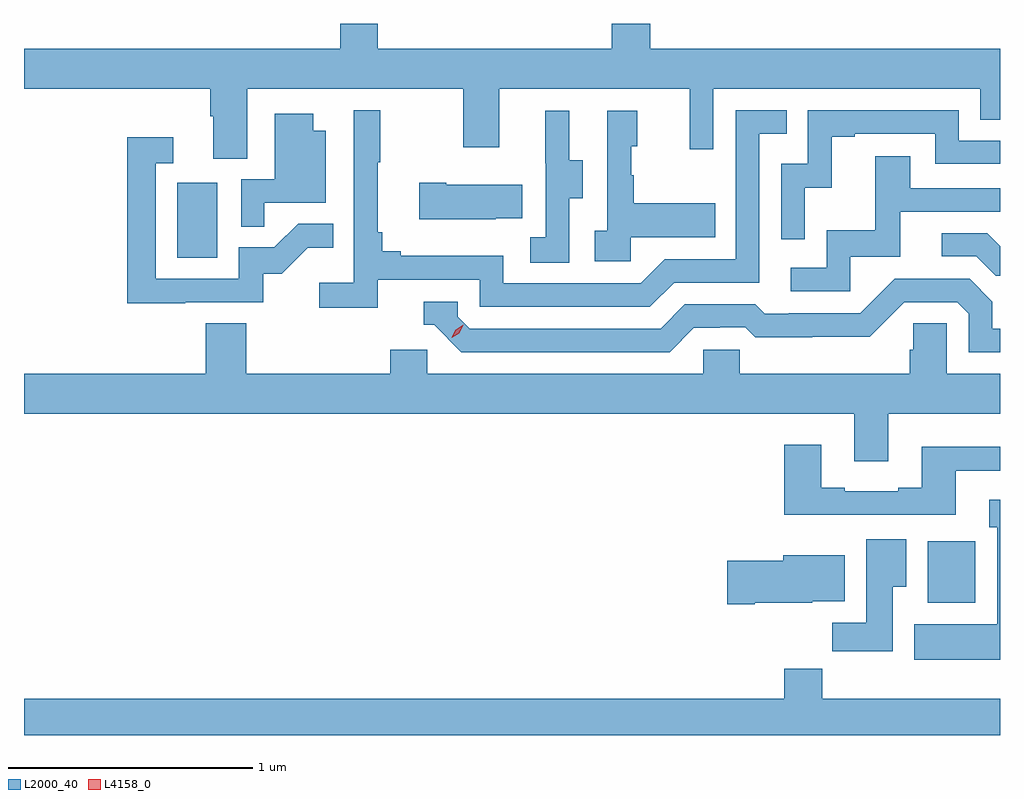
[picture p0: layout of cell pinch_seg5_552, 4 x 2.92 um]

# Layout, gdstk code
import gdstk
lib = gdstk.Library(unit=1e-6, precision=1e-09)
def R(c, l, rs):  # rectangles x0, y0, x1, y1
    for r in rs: c.add(gdstk.rectangle(r[:2], r[2:], *l))
def P(c, l, *ps):  # polygons
    for p in ps: c.add(gdstk.Polygon(p, *l))
L2000_40 = (2000, 40)
L4158_0 = (4158, 0)

pinch_seg5_552 = lib.new_cell('pinch_seg5_552')
R(pinch_seg5_552, L2000_40, [(1012.439,833.342,1012.635,833.593), (1009.364,834.756,1009.528,835.063)])
P(pinch_seg5_552, L2000_40, [(1009.651,835.448),(1010.536,835.448),(1010.536,835.209),(1010.683,835.209),(1010.683,835.448),(1011.464,835.448),(1011.464,835.2),(1011.561,835.2),(1011.561,835.448),(1012.656,835.448),(1012.656,835.321),(1012.736,835.321),(1012.736,835.612),(1011.302,835.612),(1011.302,835.714),(1011.145,835.714),(1011.145,835.612),(1010.185,835.612),(1010.185,835.714),(1010.033,835.714),(1010.033,835.612),(1008.736,835.612),(1008.736,835.448),(1009.499,835.448),(1009.499,835.336),(1009.511,835.336),(1009.511,835.162),(1009.651,835.162)],
  [(1010.186,834.666),(1010.604,834.666),(1010.604,834.555),(1011.301,834.555),(1011.4,834.654),(1011.75,834.654),(1011.75,835.263),(1011.863,835.263),(1011.863,835.359),(1011.654,835.359),(1011.654,834.75),(1011.363,834.75),(1011.264,834.651),(1010.7,834.651),(1010.7,834.763),(1010.281,834.763),(1010.281,834.782),(1010.204,834.782),(1010.204,834.859),(1010.185,834.859),(1010.185,835.147),(1010.197,835.147),(1010.197,835.36),(1010.088,835.36),(1010.088,834.652),(1009.947,834.652),(1009.947,834.55),(1010.186,834.55)],
  [(1011.936,835.043),(1012.046,835.043),(1012.046,835.251),(1012.141,835.251),(1012.141,835.263),(1012.47,835.263),(1012.47,835.14),(1012.736,835.14),(1012.736,835.236),(1012.566,835.236),(1012.566,835.359),(1011.948,835.359),(1011.948,835.14),(1011.84,835.14),(1011.84,834.831),(1011.936,834.831)],
  [(1010.97,835),(1011.025,835),(1011.025,835.155),(1010.971,835.155),(1010.971,835.357),(1010.873,835.357),(1010.873,835.143),(1010.874,835.143),(1010.874,834.839),(1010.811,834.839),(1010.811,834.736),(1010.97,834.736)],
  [(1011.222,834.839),(1011.569,834.839),(1011.569,834.979),(1011.235,834.979),(1011.235,835.094),(1011.225,835.094),(1011.225,835.212),(1011.25,835.212),(1011.25,835.357),(1011.126,835.357),(1011.126,834.866),(1011.075,834.866),(1011.075,834.741),(1011.222,834.741)],
  [(1009.721,834.981),(1009.972,834.981),(1009.972,835.276),(1009.921,835.276),(1009.921,835.345),(1009.763,835.345),(1009.763,835.077),(1009.626,835.077),(1009.626,834.883),(1009.721,834.883)],
  [(1009.397,834.573),(1009.716,834.573),(1009.716,834.69),(1009.792,834.69),(1009.899,834.797),(1010.003,834.797),(1010.003,834.895),(1009.859,834.895),(1009.762,834.798),(1009.617,834.798),(1009.617,834.669),(1009.275,834.669),(1009.275,835.143),(1009.348,835.143),(1009.348,835.249),(1009.159,835.249),(1009.159,834.568),(1009.397,834.568)],
  [(1012.122,834.759),(1012.327,834.759),(1012.327,834.945),(1012.736,834.945),(1012.736,835.041),(1012.369,835.041),(1012.369,835.171),(1012.225,835.171),(1012.225,834.868),(1012.026,834.868),(1012.026,834.714),(1011.879,834.714),(1011.879,834.618),(1012.122,834.618)],
  [(1010.669,834.917),(1010.777,834.917),(1010.777,835.054),(1010.467,835.054),(1010.467,835.062),(1010.355,835.062),(1010.355,834.914),(1010.669,834.914)],
  [(1012.736,834.803),(1012.684,834.855),(1012.497,834.855),(1012.497,834.762),(1012.638,834.762),(1012.718,834.682),(1012.736,834.682)],
  [(1011.481,834.468),(1011.588,834.468),(1011.588,834.471),(1011.691,834.471),(1011.733,834.429),(1011.966,834.429),(1011.966,834.431),(1012.202,834.431),(1012.344,834.573),(1012.56,834.573),(1012.608,834.525),(1012.608,834.369),(1012.736,834.369),(1012.736,834.465),(1012.705,834.465),(1012.705,834.575),(1012.611,834.669),(1012.305,834.669),(1012.164,834.528),(1011.871,834.528),(1011.871,834.525),(1011.772,834.525),(1011.733,834.564),(1011.444,834.564),(1011.345,834.465),(1010.562,834.465),(1010.514,834.513),(1010.514,834.576),(1010.375,834.576),(1010.375,834.48),(1010.418,834.48),(1010.529,834.369),(1011.382,834.369)],
  [(1012.279,834.116),(1012.736,834.116),(1012.736,834.28),(1012.518,834.28),(1012.518,834.488),(1012.381,834.488),(1012.381,834.378),(1012.367,834.378),(1012.367,834.28),(1011.669,834.28),(1011.669,834.378),(1011.519,834.378),(1011.519,834.28),(1010.388,834.28),(1010.388,834.378),(1010.237,834.378),(1010.237,834.28),(1009.646,834.28),(1009.646,834.488),(1009.481,834.488),(1009.481,834.28),(1008.736,834.28),(1008.736,834.116),(1012.139,834.116),(1012.139,833.922),(1012.279,833.922)],
  [(1012.095,833.703),(1012.555,833.703),(1012.555,833.883),(1012.736,833.883),(1012.736,833.98),(1012.415,833.98),(1012.415,833.812),(1012.319,833.812),(1012.319,833.799),(1012.099,833.799),(1012.099,833.812),(1012.003,833.812),(1012.003,833.989),(1011.851,833.989),(1011.851,833.702),(1012.095,833.702)],
  [(1012.736,833.764),(1012.691,833.764),(1012.691,833.651),(1012.724,833.651),(1012.724,833.254),(1012.385,833.254),(1012.385,833.108),(1012.736,833.108)],
  [(1012.297,833.408),(1012.351,833.408),(1012.351,833.602),(1012.187,833.602),(1012.187,833.26),(1012.048,833.26),(1012.048,833.142),(1012.297,833.142)],
  [(1011.73,833.342),(1011.966,833.342),(1011.966,833.348),(1012.099,833.348),(1012.099,833.536),(1011.848,833.536),(1011.848,833.513),(1011.618,833.513),(1011.618,833.335),(1011.73,833.335)],
  [(1012.736,832.948),(1012.007,832.948),(1012.007,833.072),(1011.851,833.072),(1011.851,832.948),(1008.736,832.948),(1008.736,832.799),(1012.736,832.799)])
P(pinch_seg5_552, L4158_0, [(1010.489,834.428),(1010.489,834.429),(1010.506,834.461),(1010.536,834.48),(1010.537,834.48),(1010.537,834.48),(1010.52,834.447),(1010.49,834.428)])

lib.write_gds('pinch_seg5_552.gds')
